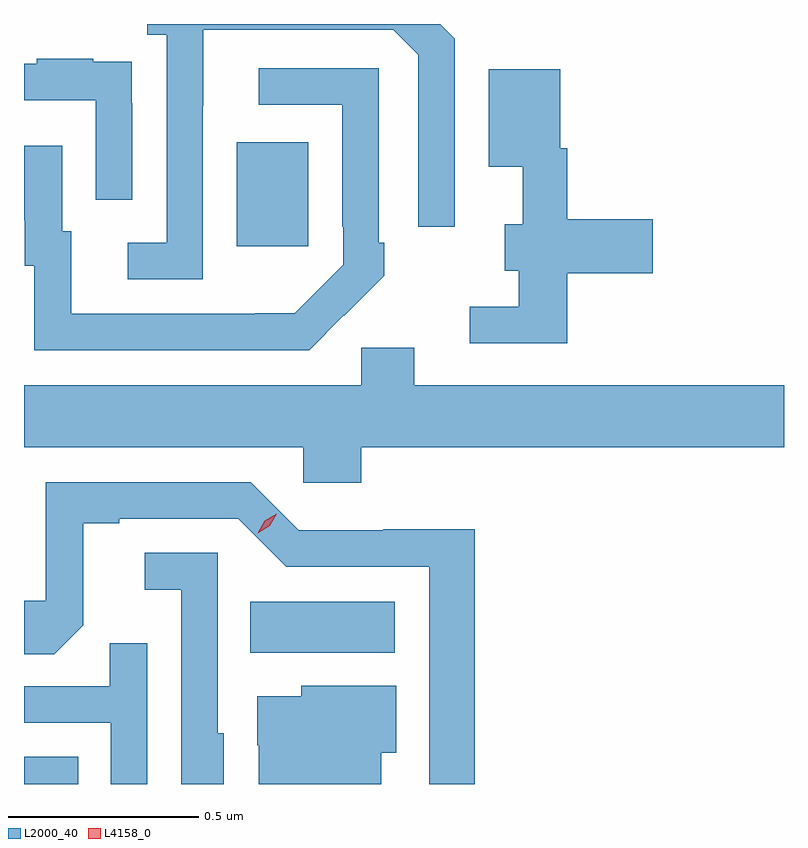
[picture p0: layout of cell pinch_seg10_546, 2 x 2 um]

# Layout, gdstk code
import gdstk
lib = gdstk.Library(unit=1e-6, precision=1e-09)
def R(c, l, rs):  # rectangles x0, y0, x1, y1
    for r in rs: c.add(gdstk.rectangle(r[:2], r[2:], *l))
def P(c, l, *ps):  # polygons
    for p in ps: c.add(gdstk.Polygon(p, *l))
L2000_40 = (2000, 40)
L4158_0 = (4158, 0)

pinch_seg10_546 = lib.new_cell('pinch_seg10_546')
R(pinch_seg10_546, L2000_40, [(204.705,1260.802,204.848,1260.874), (205.3,1261.148,205.681,1261.282), (205.265,1262.217,205.453,1262.491)])
P(pinch_seg10_546, L2000_40, [(205.176,1262.587),(205.177,1262.587),(205.177,1262.787),(205.677,1262.787),(205.743,1262.721),(205.743,1262.268),(205.839,1262.268),(205.839,1262.763),(205.8,1262.802),(205.029,1262.802),(205.029,1262.774),(205.08,1262.774),(205.08,1262.226),(204.978,1262.226),(204.978,1262.13),(205.176,1262.13)],
  [(204.99,1262.594),(204.989,1262.594),(204.989,1262.703),(204.887,1262.703),(204.887,1262.71),(204.739,1262.71),(204.739,1262.697),(204.705,1262.697),(204.705,1262.601),(204.894,1262.601),(204.894,1262.34),(204.99,1262.34)],
  [(205.547,1262.035),(205.548,1262.034),(205.653,1262.139),(205.653,1262.227),(205.638,1262.227),(205.638,1262.685),(205.323,1262.685),(205.323,1262.589),(205.542,1262.589),(205.542,1262.269),(205.545,1262.269),(205.545,1262.169),(205.417,1262.041),(205.313,1262.041),(205.313,1262.04),(204.829,1262.04),(204.829,1262.256),(204.805,1262.256),(204.805,1262.482),(204.705,1262.482),(204.705,1262.285),(204.707,1262.285),(204.707,1262.166),(204.732,1262.166),(204.732,1261.944),(205.456,1261.944)],
  [(206.135,1262.146),(206.359,1262.146),(206.359,1262.288),(206.135,1262.288),(206.135,1262.475),(206.116,1262.475),(206.116,1262.683),(205.928,1262.683),(205.928,1262.426),(206.018,1262.426),(206.018,1262.275),(205.97,1262.275),(205.97,1262.153),(206.007,1262.153),(206.007,1262.058),(205.878,1262.058),(205.878,1261.962),(206.135,1261.962)],
  [(205.592,1261.688),(206.705,1261.688),(206.705,1261.852),(205.732,1261.852),(205.732,1261.95),(205.593,1261.95),(205.593,1261.852),(204.705,1261.852),(204.705,1261.688),(205.44,1261.688),(205.44,1261.595),(205.592,1261.595)],
  [(205.891,1261.472),(205.65,1261.472),(205.65,1261.47),(205.428,1261.47),(205.302,1261.596),(204.762,1261.596),(204.762,1261.284),(204.705,1261.284),(204.705,1261.144),(204.785,1261.144),(204.861,1261.22),(204.861,1261.488),(204.955,1261.488),(204.955,1261.5),(205.269,1261.5),(205.395,1261.374),(205.772,1261.374),(205.772,1260.802),(205.891,1260.802)],
  [(205.23,1260.936),(205.215,1260.936),(205.215,1261.41),(205.023,1261.41),(205.023,1261.313),(205.119,1261.313),(205.119,1260.802),(205.23,1260.802)],
  [(205.029,1261.172),(204.931,1261.172),(204.931,1261.059),(204.705,1261.059),(204.705,1260.963),(204.933,1260.963),(204.933,1260.802),(205.029,1260.802)],
  [(205.645,1260.884),(205.684,1260.884),(205.684,1261.06),(205.434,1261.06),(205.434,1261.033),(205.319,1261.033),(205.319,1260.904),(205.323,1260.904),(205.323,1260.802),(205.645,1260.802)])
P(pinch_seg10_546, L4158_0, [(205.32,1261.462),(205.32,1261.462),(205.338,1261.495),(205.37,1261.513),(205.37,1261.513),(205.37,1261.513),(205.352,1261.481),(205.32,1261.462)])

lib.write_gds('pinch_seg10_546.gds')
